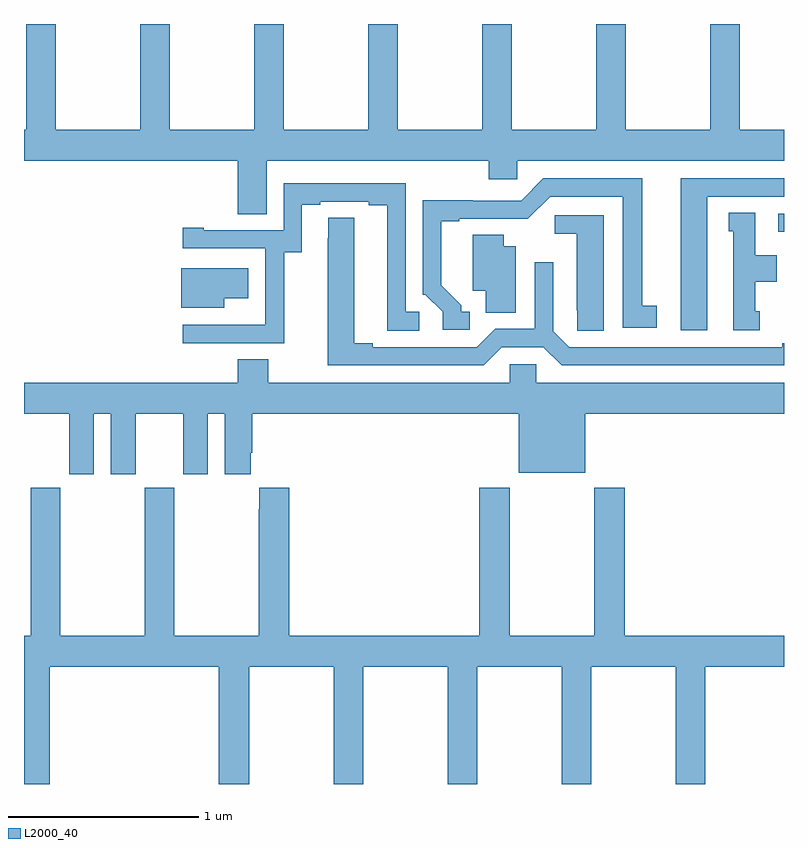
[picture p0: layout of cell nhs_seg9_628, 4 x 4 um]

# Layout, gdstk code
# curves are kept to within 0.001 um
import gdstk
lib = gdstk.Library(unit=1e-6, precision=1e-09)
def R(c, l, rs):  # rectangles x0, y0, x1, y1
    for r in rs: c.add(gdstk.rectangle(r[:2], r[2:], *l))
def P(c, l, *ps):  # polygons
    for p in ps: c.add(gdstk.Polygon(p, *l))
L2000_40 = (2000, 40)

nhs_seg9_628 = lib.new_cell('nhs_seg9_628')
R(nhs_seg9_628, L2000_40, [(146.97,1169.406,147,1169.502)])
P(nhs_seg9_628, L2000_40, [(143.011,1169.944),(143,1169.944),(143,1169.78),(144.125,1169.78),(144.125,1169.5),(144.277,1169.5),(144.277,1169.78),(145.445,1169.78),(145.445,1169.682),(145.596,1169.682),(145.596,1169.78),(147,1169.78),(147,1169.944),(146.766,1169.944),(146.766,1170.5),(146.611,1170.5),(146.611,1169.944),(146.166,1169.944),(146.166,1170.5),(146.011,1170.5),(146.011,1169.944),(145.566,1169.944),(145.566,1170.5),(145.411,1170.5),(145.411,1169.944),(144.966,1169.944),(144.966,1170.5),(144.811,1170.5),(144.811,1169.944),(144.366,1169.944),(144.366,1170.5),(144.211,1170.5),(144.211,1169.944),(143.766,1169.944),(143.766,1170.5),(143.611,1170.5),(143.611,1169.944),(143.166,1169.944),(143.166,1170.5),(143.011,1170.5)],
  [(146.596,1169.592),(147,1169.592),(147,1169.688),(146.456,1169.688),(146.456,1168.887),(146.596,1168.887)],
  [(145.345,1168.986),(145.3,1168.986),(145.3,1169.021),(145.195,1169.126),(145.195,1169.463),(145.291,1169.463),(145.291,1169.475),(145.652,1169.474),(145.77,1169.592),(146.15,1169.592),(146.15,1168.902),(146.329,1168.902),(146.329,1169.018),(146.254,1169.018),(146.254,1169.688),(145.734,1169.688),(145.617,1169.571),(145.361,1169.571),(145.361,1169.573),(145.098,1169.573),(145.098,1169.076),(145.113,1169.076),(145.203,1168.986),(145.203,1168.89),(145.345,1168.89)],
  [(144.369,1169.299),(144.463,1169.299),(144.463,1169.55),(144.559,1169.55),(144.559,1169.565),(144.815,1169.565),(144.815,1169.545),(144.911,1169.545),(144.911,1168.885),(145.081,1168.885),(145.081,1168.986),(145.008,1168.986),(145.008,1169.661),(144.366,1169.661),(144.366,1169.415),(143.947,1169.415),(143.947,1169.428),(143.835,1169.428),(143.835,1169.319),(144.27,1169.319),(144.27,1168.918),(144.269,1168.918),(144.269,1168.917),(143.835,1168.917),(143.835,1168.821),(144.369,1168.821)],
  [(146.872,1168.989),(146.848,1168.989),(146.848,1169.144),(146.962,1169.144),(146.962,1169.284),(146.848,1169.284),(146.848,1169.507),(146.708,1169.507),(146.708,1169.409),(146.732,1169.409),(146.732,1168.887),(146.872,1168.887)],
  [(146.05,1169.493),(145.794,1169.493),(145.794,1169.396),(145.91,1169.396),(145.91,1168.993),(145.911,1168.993),(145.911,1168.885),(146.05,1168.885)],
  [(145.515,1168.8),(145.733,1168.8),(145.829,1168.704),(147,1168.704),(147,1168.82),(146.99,1168.82),(146.99,1168.8),(145.869,1168.8),(145.785,1168.884),(145.785,1169.245),(145.689,1169.245),(145.689,1168.896),(145.479,1168.896),(145.383,1168.8),(144.835,1168.8),(144.835,1168.82),(144.739,1168.82),(144.739,1169.48),(144.6,1169.48),(144.599,1168.704),(145.419,1168.704)],
  [(145.588,1169.329),(145.525,1169.329),(145.525,1169.39),(145.361,1169.39),(145.361,1169.096),(145.43,1169.096),(145.43,1168.981),(145.588,1168.981)],
  [(144.055,1169.057),(144.181,1169.057),(144.181,1169.215),(143.828,1169.215),(143.828,1169.006),(144.055,1169.006)],
  [(143.368,1168.448),(143.456,1168.448),(143.456,1168.131),(143.587,1168.131),(143.587,1168.448),(143.837,1168.448),(143.837,1168.131),(143.968,1168.131),(143.968,1168.448),(144.056,1168.448),(144.056,1168.131),(144.193,1168.131),(144.193,1168.243),(144.2,1168.243),(144.2,1168.448),(145.604,1168.448),(145.604,1168.139),(145.954,1168.139),(145.954,1168.448),(147,1168.448),(147,1168.612),(145.695,1168.612),(145.695,1168.71),(145.557,1168.71),(145.557,1168.612),(144.285,1168.612),(144.285,1168.736),(144.125,1168.736),(144.125,1168.612),(143,1168.612),(143,1168.448),(143.237,1168.448),(143.237,1168.131),(143.368,1168.131)],
  [(144.786,1167.116),(145.231,1167.116),(145.231,1166.5),(145.386,1166.5),(145.386,1167.116),(145.831,1167.116),(145.831,1166.5),(145.986,1166.5),(145.986,1167.116),(146.431,1167.116),(146.431,1166.5),(146.586,1166.5),(146.586,1167.116),(147,1167.116),(147,1167.28),(146.162,1167.28),(146.162,1168.06),(146.002,1168.06),(146.002,1167.28),(145.557,1167.28),(145.557,1168.06),(145.397,1168.06),(145.397,1167.28),(144.395,1167.28),(144.395,1168.06),(144.239,1168.06),(144.239,1167.947),(144.235,1167.947),(144.235,1167.28),(143.79,1167.28),(143.79,1168.06),(143.635,1168.06),(143.635,1167.28),(143.19,1167.28),(143.19,1168.06),(143.035,1168.06),(143.035,1167.28),(143,1167.28),(143,1166.5),(143.135,1166.5),(143.135,1167.116),(144.026,1167.116),(144.026,1166.5),(144.186,1166.5),(144.186,1167.116),(144.631,1167.116),(144.631,1166.5),(144.786,1166.5)])

lib.write_gds('nhs_seg9_628.gds')
